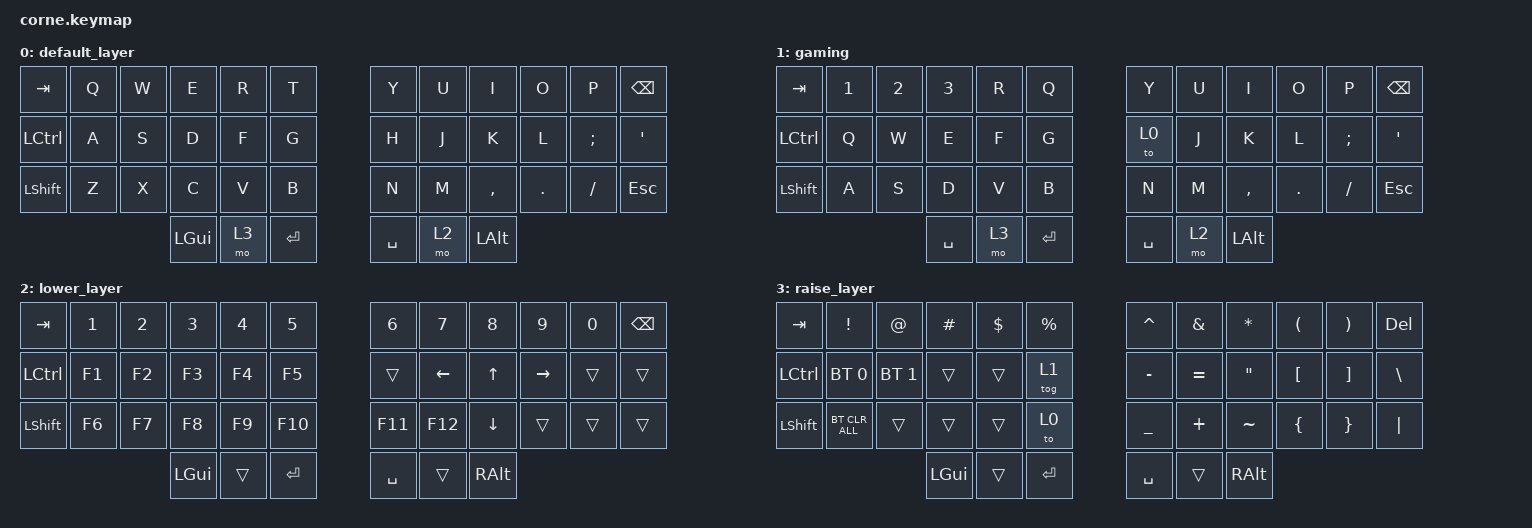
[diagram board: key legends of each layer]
/*
 * Copyright (c) 2020 The ZMK Contributors
 *
 * SPDX-License-Identifier: MIT
 */

#include <behaviors.dtsi>
#include <dt-bindings/zmk/bt.h>
#include <dt-bindings/zmk/keys.h>

/ {
    keymap {
        compatible = "zmk,keymap";

        default_layer {
            // -----------------------------------------------------------------------------------------
            // |  TAB |  Q  |  W  |  E  |  R  |  T  |   |  Y  |  U   |  I  |  O  |  P  | BSPC |
            // | CTRL |  A  |  S  |  D  |  F  |  G  |   |  H  |  J   |  K  |  L  |  ;  |  '   |
            // | SHFT |  Z  |  X  |  C  |  V  |  B  |   |  N  |  M   |  ,  |  .  |  /  | ESC  |
            //                    | GUI | LWR | SPC |   | ENT | RSE  | ALT |

            bindings = <
&kp TAB    &kp Q  &kp W  &kp E     &kp R  &kp T        &kp Y      &kp U  &kp I         &kp O    &kp P     &kp BSPC
&kp LCTRL  &kp A  &kp S  &kp D     &kp F  &kp G        &kp H      &kp J  &kp K         &kp L    &kp SEMI  &kp SQT
&kp LSHFT  &kp Z  &kp X  &kp C     &kp V  &kp B        &kp N      &kp M  &kp COMMA     &kp DOT  &kp FSLH  &kp ESC
                         &kp LGUI  &mo 3  &kp ENTER    &kp SPACE  &mo 2  &kp LEFT_ALT
            >;
        };

        gaming {
            bindings = <
&kp TAB    &kp NUMBER_1  &kp NUMBER_2  &kp NUMBER_3  &kp R  &kp Q        &kp Y      &kp U  &kp I         &kp O    &kp P     &kp BSPC
&kp LCTRL  &kp Q         &kp W         &kp E         &kp F  &kp G        &to 0      &kp J  &kp K         &kp L    &kp SEMI  &kp SQT
&kp LSHFT  &kp A         &kp S         &kp D         &kp V  &kp B        &kp N      &kp M  &kp COMMA     &kp DOT  &kp FSLH  &kp ESC
                                       &kp SPACE     &mo 3  &kp ENTER    &kp SPACE  &mo 2  &kp LEFT_ALT
            >;
        };

        lower_layer {
            // -----------------------------------------------------------------------------------------
            // |  TAB |  1  |  2  |  3  |  4  |  5  |   |  6  |  7  |  8  |  9  |  0  | BSPC |
            // | BTCLR| BT1 | BT2 | BT3 | BT4 | BT5 |   | LFT | DWN |  UP | RGT |     |      |
            // | SHFT |     |     |     |     |     |   |     |     |     |     |     |      |
            //                    | GUI |     | SPC |   | ENT |     | ALT |

            bindings = <
&kp TAB           &kp N1  &kp N2  &kp N3    &kp N4  &kp N5        &kp N6     &kp N7    &kp N8    &kp N9     &kp N0  &kp BSPC
&kp LEFT_CONTROL  &kp F1  &kp F2  &kp F3    &kp F4  &kp F5        &trans     &kp LEFT  &kp UP    &kp RIGHT  &trans  &trans
&kp LSHFT         &kp F6  &kp F7  &kp F8    &kp F9  &kp F10       &kp F11    &kp F12   &kp DOWN  &trans     &trans  &trans
                                  &kp LGUI  &trans  &kp RETURN    &kp SPACE  &trans    &kp RALT
            >;
        };

        raise_layer {
            // -----------------------------------------------------------------------------------------
            // |  TAB |  !  |  @  |  #  |  $  |  %  |   |  ^  |  &  |  *  |  (  |  )  | BSPC |
            // | CTRL |     |     |     |     |     |   |  -  |  =  |  [  |  ]  |  \  |  `   |
            // | SHFT |     |     |     |     |     |   |  _  |  +  |  {  |  }  | "|" |  ~   |
            //                    | GUI |     | SPC |   | ENT |     | ALT |

            bindings = <
&kp TAB    &kp EXCL        &kp AT        &kp HASH  &kp DLLR  &kp PRCNT    &kp CARET  &kp AMPS   &kp ASTRK          &kp LPAR          &kp RPAR           &kp DELETE
&kp LCTRL  &bt BT_SEL 0    &bt BT_SEL 1  &trans    &trans    &tog 1       &kp MINUS  &kp EQUAL  &kp DOUBLE_QUOTES  &kp LEFT_BRACKET  &kp RIGHT_BRACKET  &kp BACKSLASH
&kp LSHFT  &bt BT_CLR_ALL  &trans        &trans    &trans    &to 0        &kp UNDER  &kp PLUS   &kp TILDE          &kp LEFT_BRACE    &kp RIGHT_BRACE    &kp PIPE
                                         &kp LGUI  &trans    &kp ENTER    &kp SPACE  &trans     &kp RALT
            >;
        };
    };
};
